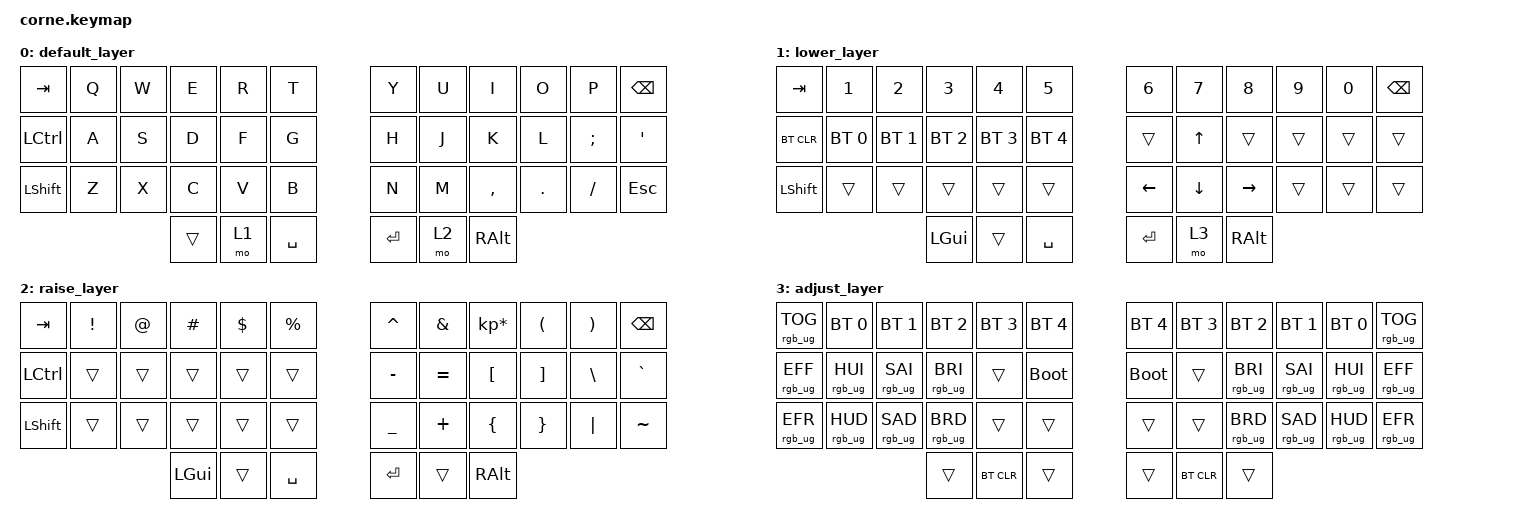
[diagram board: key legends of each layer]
/*
 * Copyright (c) 2020 The ZMK Contributors
 *
 * SPDX-License-Identifier: MIT
 */

#include <behaviors.dtsi>
#include <dt-bindings/zmk/keys.h>
#include <dt-bindings/zmk/bt.h>
#include <dt-bindings/zmk/rgb.h>

#define DEF 0
#define LWR 1
#define RSE 2
#define ADJ 3

/ {
        keymap {
                compatible = "zmk,keymap";

                default_layer {
// -----------------------------------------------------------------------------------------
// |  TAB |  Q  |  W  |  E  |  R  |  T  |   |  Y  |  U   |  I  |  O  |  P  | BKSP |
// | CTRL |  A  |  S  |  D  |  F  |  G  |   |  H  |  J   |  K  |  L  |  ;  |  '   |
// | SHFT |  Z  |  X  |  C  |  V  |  B  |   |  N  |  M   |  ,  |  .  |  /  | ESC  |
//                    |     | LWR | SPC |   | ENT | RSE  | ALT |
                        bindings = <
&kp TAB    &kp Q &kp W &kp E &kp R &kp T   &kp Y &kp U  &kp I     &kp O   &kp P    &kp BSPC
&kp LCTRL  &kp A &kp S &kp D &kp F &kp G   &kp H &kp J  &kp K     &kp L   &kp SEMI &kp SQT
&kp LSHFT  &kp Z &kp X &kp C &kp V &kp B   &kp N &kp M  &kp COMMA &kp DOT &kp FSLH &kp ESC
                &trans &mo 1 &kp SPACE   &kp RET &mo 2 &kp RALT
                        >;
                };

                lower_layer {
// -----------------------------------------------------------------------------------------
// |  TAB |  1  |  2  |  3  |  4  |  5  |   |  6  |  7  |  8  |  9  |  0  | BKSP |
// | BTCLR| BT1 | BT2 | BT3 | BT4 | BT5 |   |     | UP  |     |     |     |      |
// | SHFT |     |     |     |     |     |   | LFT | DWN | RGT |     |     |      |
//                    | GUI |     | SPC |   | ENT | ADJ | ALT |
                        bindings = <
&kp TAB    &kp N1       &kp N2       &kp N3       &kp N4       &kp N5         &kp N6   &kp N7   &kp N8    &kp N9    &kp N0 &kp BSPC
&bt BT_CLR &bt BT_SEL 0 &bt BT_SEL 1 &bt BT_SEL 2 &bt BT_SEL 3 &bt BT_SEL 4   &trans   &kp UP   &trans    &trans    &trans &trans
&kp LSHFT  &trans       &trans       &trans       &trans       &trans         &kp LEFT &kp DOWN &kp RIGHT &trans    &trans &trans
                        &kp LGUI     &trans       &kp SPACE    &kp RET        &mo 3    &kp RALT
                        >;
                };

                raise_layer {
// -----------------------------------------------------------------------------------------
// |  TAB |  !  |  @  |  #  |  $  |  %  |   |  ^  |  &  |  *  |  (  |  )  | BKSP |
// | CTRL |     |     |     |     |     |   |  -  |  =  |  [  |  ]  |  \  |  `   |
// | SHFT |     |     |     |     |     |   |  _  |  +  |  {  |  }  | "|" |  ~   |
//                    | GUI |     | SPC |   | ENT |     | ALT |
                        bindings = <
&kp  TAB  &kp EXCL &kp AT &kp HASH &kp DLLR &kp PRCNT   &kp CARET &kp AMPS  &kp KP_MULTIPLY &kp LPAR &kp RPAR &kp BSPC
&kp LCTRL &trans   &trans &trans   &trans   &trans      &kp MINUS &kp EQUAL &kp LBKT        &kp RBKT &kp BSLH &kp GRAVE
&kp LSHFT &trans   &trans &trans   &trans   &trans      &kp UNDER &kp PLUS  &kp LBRC        &kp RBRC &kp PIPE &kp TILDE
                          &kp LGUI &trans   &kp SPACE   &kp RET   &trans    &kp RALT
                        >;
                };

                adjust_layer {
// -----------------------------------------------------------------------------------------------
// | RST | RGBTOG| BT0 | BT1 | BT2 | BT3  | BT4 |   | BT4 | BT3  | BT2 | BT1 | BT0 | RGBTOG| RST |
// | RGB | MOD+  | HUE+| SAT+| VAL+|      |     |   |     |      | VAL+| SAT+| HUE+| MOD+  |
//   RGB | MOD-  | HUE-| SAT-| VAL-|      |     |   |     |      | VAL-| SAT-| HUE-| MOD-  |
//                           |     | BTCLR|     |   |     | BTCLR|     |
                        bindings = <
&rgb_ug RGB_TOG  &bt BT_SEL 0    &bt BT_SEL 1    &bt BT_SEL 2    &bt BT_SEL 3  &bt BT_SEL 4   &bt BT_SEL 4 &bt BT_SEL 3 &bt BT_SEL 2    &bt BT_SEL 1    &bt BT_SEL 0    &rgb_ug RGB_TOG
&rgb_ug RGB_EFF  &rgb_ug RGB_HUI &rgb_ug RGB_SAI &rgb_ug RGB_BRI &trans        &bootloader    &bootloader  &trans        &rgb_ug RGB_BRI &rgb_ug RGB_SAI &rgb_ug RGB_HUI &rgb_ug RGB_EFF
&rgb_ug RGB_EFR  &rgb_ug RGB_HUD &rgb_ug RGB_SAD &rgb_ug RGB_BRD &trans        &trans &trans  &trans        &rgb_ug RGB_BRD &rgb_ug RGB_SAD &rgb_ug RGB_HUD &rgb_ug RGB_EFR
                        &trans &bt BT_CLR &trans                               &trans &bt BT_CLR &trans
                        >;
                };
        };
};
